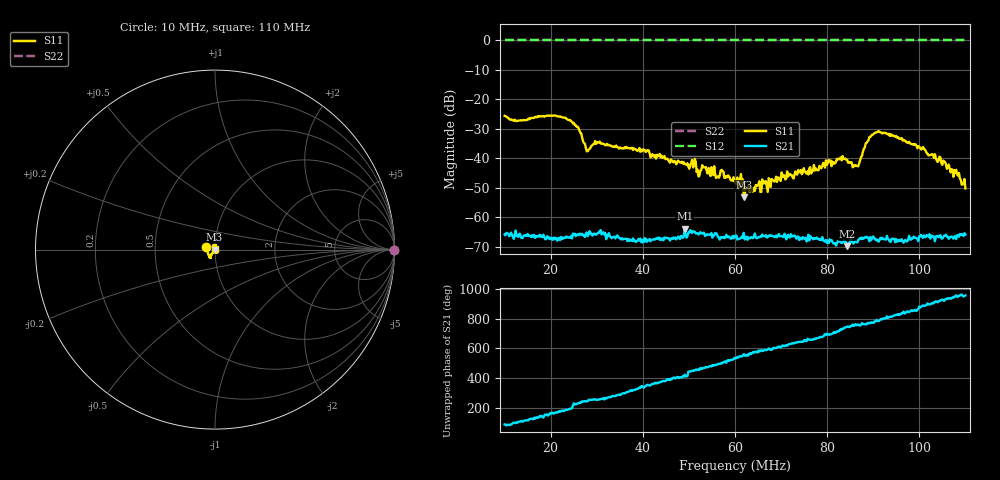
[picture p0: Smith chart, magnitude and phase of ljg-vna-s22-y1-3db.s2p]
! Anritsu VNA Master:  Model: MS2034B/10/19/501
! SN:  1337062
! /bd0/ovro-jan-2016/ljg-vna-s22-y1.s2p
! Existing Calibration Information:
! TYPE:  Current Settings,  Active Cal Settings
! TIME:  01/08/2016 07:11:44 PM,  01/08/2016 05:30:02 PM
! INTERNAL TEMP:  45.0 C,  46.5 C
! # POINTS:  500,  500
! START FREQ:  10.000 MHz,  10.000 MHz
! STOP FREQ:  110.000 MHz,  110.000 MHz
! SOURCE POWER:  Low,  Low
! IFBW:  100 Hz,  100 Hz
! AVG FACTOR:  6 ,  3
! REF PLANE 1:  2.2451 m,  1.2232 m
! REF PLANE 2:  0 mm,  0 mm
! CAL TYPE:  1P2P S11,S21,  1P2P S11,S21
! CAL METHOD:  SOLT,  SOLT
! CAL LINE TYPE:  Coax,  Coax
! DUT PORT 1:  K-Conn(M),  K-Conn(M)
! DUT PORT 2:  N-Conn(M),  N-Conn(M)
! CAL STATUS:  OK: Accuracy High,  --
# GHZ S DB R 50.0
! FREQ.GHZ  S11DB  S11A  S21DB  S21A  S12DB  S12A  S22DB  S22A
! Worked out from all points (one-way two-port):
!   500 points, 10 MHz to 110 MHz, reference 50 ohm
!   highest |S21| = -63.82 dB at 49.08 MHz (marker M1); lowest = -69.7 dB at 84.35 MHz (marker M2)
!   lowest |S11| = -53.2 dB at 61.9 MHz (marker M3), VSWR 1.00, Z = 49.8 - j0.0249 ohm
!   |S11| at or under -10 dB: start of sweep to end of sweep
!   |S22| runs from 0.0 to 0.0 dB; largest |S21 - S12| = 1
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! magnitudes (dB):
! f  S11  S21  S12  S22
! 10 MHz  -25.5  -65.8  0.0  0.0
! 22.83 MHz  -26.1  -67.1  0.0  0.0
! 25.63 MHz  -29.3  -65.8  0.0  0.0
! 26.83 MHz  -33.0  -65.5  0.0  0.0
! 28.04 MHz  -37.6  -66.3  0.0  0.0
! 30.44 MHz  -34.6  -65.3  0.0  0.0
! 38.46 MHz  -36.9  -68.3  0.0  0.0
! 43.47 MHz  -39.1  -66.8  0.0  0.0
! 49.08 MHz  -41.9  -63.8  0.0  0.0
! 51.08 MHz  -42.6  -64.8  0.0  0.0
! 52.08 MHz  -46.1  -65.8  0.0  0.0
! 53.29 MHz  -43.0  -65.2  0.0  0.0
! 60.1 MHz  -48.3  -66.7  0.0  0.0
! 61.3 MHz  -45.3  -66.9  0.0  0.0
! 61.9 MHz  -53.2  -65.2  0.0  0.0
! 76.73 MHz  -44.3  -66.9  0.0  0.0
! 84.35 MHz  -40.4  -69.7  0.0  0.0
! 86.35 MHz  -42.5  -67.9  0.0  0.0
! 89.56 MHz  -32.4  -67.6  0.0  0.0
! 93.37 MHz  -31.6  -67.6  0.0  0.0
! 104.8 MHz  -41.6  -67.1  0.0  0.0
! 110 MHz  -50.2  -65.8  0.0  0.0
